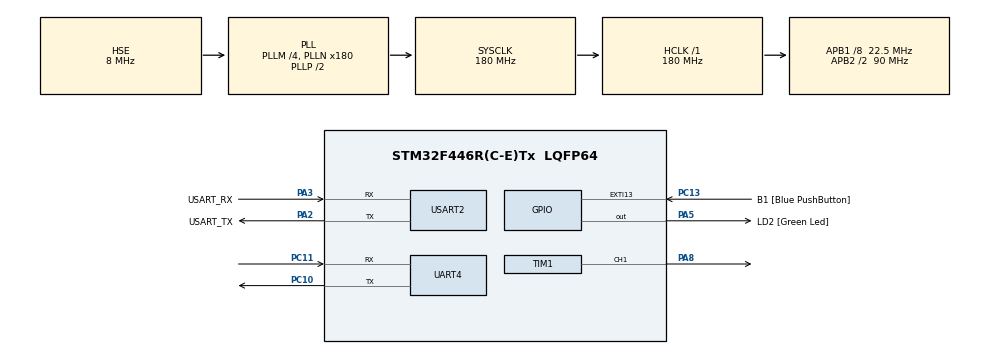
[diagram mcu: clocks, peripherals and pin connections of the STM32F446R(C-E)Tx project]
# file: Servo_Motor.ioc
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Dma.Request0=UART4_RX
Dma.UART4_RX.0.Direction=DMA_PERIPH_TO_MEMORY
Dma.UART4_RX.0.FIFOMode=DMA_FIFOMODE_DISABLE
Dma.UART4_RX.0.Instance=DMA1_Stream2
Dma.UART4_RX.0.MemDataAlignment=DMA_MDATAALIGN_BYTE
Dma.UART4_RX.0.MemInc=DMA_MINC_ENABLE
Dma.UART4_RX.0.Mode=DMA_CIRCULAR
Dma.UART4_RX.0.PeriphDataAlignment=DMA_PDATAALIGN_BYTE
Dma.UART4_RX.0.PeriphInc=DMA_PINC_DISABLE
Dma.UART4_RX.0.Priority=DMA_PRIORITY_LOW
Mcu.Family=STM32F4
Mcu.Name=STM32F446R(C-E)Tx
Mcu.Package=LQFP64
NVIC.DMA1_Stream2_IRQn=true\:0\:0\:false\:false\:true\:false\:true\:true
NVIC.PriorityGroup=NVIC_PRIORITYGROUP_0
PA13.GPIO_Label=TMS
PA13.Mode=Serial_Wire
PA13.Signal=SYS_JTMS-SWDIO
PA14.GPIO_Label=TCK
PA14.Mode=Serial_Wire
PA14.Signal=SYS_JTCK-SWCLK
PA2.GPIO_Label=USART_TX
PA2.Mode=Asynchronous
PA2.Signal=USART2_TX
PA3.GPIO_Label=USART_RX
PA3.Mode=Asynchronous
PA3.Signal=USART2_RX
PA5.GPIO_Label=LD2 [Green Led]
PA5.Signal=GPIO_Output
PA8.Signal=S_TIM1_CH1
PB3.GPIO_Label=SWO
PB3.Signal=SYS_JTDO-SWO
PC10.Mode=Asynchronous
PC10.Signal=UART4_TX
PC11.Mode=Asynchronous
PC11.Signal=UART4_RX
PC13.GPIO_Label=B1 [Blue PushButton]
PC13.GPIO_ModeDefaultEXTI=GPIO_MODE_IT_FALLING
PC13.Signal=GPXTI13
PC14-OSC32_IN.Mode=LSE-External-Oscillator
PC14-OSC32_IN.Signal=RCC_OSC32_IN
PC15-OSC32_OUT.Mode=LSE-External-Oscillator
PC15-OSC32_OUT.Signal=RCC_OSC32_OUT
PH0-OSC_IN.Mode=HSE-External-Oscillator
PH0-OSC_IN.Signal=RCC_OSC_IN
PH1-OSC_OUT.Mode=HSE-External-Oscillator
PH1-OSC_OUT.Signal=RCC_OSC_OUT
ProjectManager.HeapSize=0x200
ProjectManager.StackSize=0x400
ProjectManager.TargetToolchain=STM32CubeIDE
RCC.48MHZClocksFreq_Value=84000000
RCC.AHBFreq_Value=180000000
RCC.APB1CLKDivider=RCC_HCLK_DIV8
RCC.APB1Freq_Value=22500000
RCC.APB1TimFreq_Value=45000000
RCC.APB2CLKDivider=RCC_HCLK_DIV2
RCC.APB2Freq_Value=90000000
RCC.APB2TimFreq_Value=180000000
RCC.CortexFreq_Value=180000000
RCC.FLatency-AdvancedSettings=FLASH_LATENCY_5
RCC.HCLKFreq_Value=180000000
RCC.HSE_VALUE=8000000
RCC.HSI_VALUE=16000000
RCC.PLLM=4
RCC.PLLN=180
RCC.PLLSourceVirtual=RCC_PLLSOURCE_HSE
RCC.SYSCLKFreq_VALUE=180000000
RCC.SYSCLKSource=RCC_SYSCLKSOURCE_PLLCLK
RCC.USBFreq_Value=180000000
RCC.VCOOutputFreq_Value=360000000
SH.S_TIM1_CH1.0=TIM1_CH1,PWM Generation1 CH1
TIM1.Channel-PWM\ Generation1\ CH1=TIM_CHANNEL_1
TIM1.Period=999
TIM1.Prescaler=899
UART4.VirtualMode=Asynchronous
USART2.VirtualMode=VM_ASYNC
VP_TIM1_VS_ClockSourceINT.Mode=Internal
board=NUCLEO-F446RE

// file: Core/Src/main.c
/* USER CODE BEGIN Header */
/**
 ******************************************************************************
 * @file           : main.c
 * @brief          : Main program body
 ******************************************************************************
 * @attention
 *
 * Copyright (c) 2025 STMicroelectronics.
 * All rights reserved.
 *
 * This software is licensed under terms that can be found in the LICENSE file
 * in the root directory of this software component.
 * If no LICENSE file comes with this software, it is provided AS-IS.
 *
 ******************************************************************************
 */
/* USER CODE END Header */
#include "main.h"

TIM_HandleTypeDef htim1;

UART_HandleTypeDef huart4;
UART_HandleTypeDef huart2;
DMA_HandleTypeDef hdma_uart4_rx;

/* USER CODE BEGIN PV */
uint8_t rxbuff[16];
int32_t lx, ly, rx, ry, cro, squ, tri, cir, up, down, left, right, ll1, rr1,
		ll2, rr2, rL, rR;
/* USER CODE END PV */

void SystemClock_Config(void);
static void MX_GPIO_Init(void);
static void MX_DMA_Init(void);
static void MX_USART2_UART_Init(void);
static void MX_TIM1_Init(void);
static void MX_UART4_Init(void);

/* USER CODE BEGIN 0 */
void HAL_UART_RxCpltCallback(UART_HandleTypeDef *huart) {
	HAL_UART_Receive_DMA(&huart4, rxbuff, 16);
}
//void Set_Servo_Angle(TIM_HandleTypeDef *htim, uint32_t channel, uint8_t angle){
//	uint32_t pulse_length = 100 + (angle * (500 - 100)/180);
//	__HAL_TIM_SET_COMPARE(htim, channel, pulse_length);
//}
void Set_Servo_Angle(TIM_HandleTypeDef *htim, uint32_t channel, uint8_t angle){
	uint32_t pulse_length = angle * 250/360;
	__HAL_TIM_SET_COMPARE(htim, channel, pulse_length);
}
/* USER CODE END 0 */

int main(void)
{

  /* MCU Configuration--------------------------------------------------------*/

  /* Reset of all peripherals, Initializes the Flash interface and the Systick. */
  HAL_Init();

  /* Configure the system clock */
  SystemClock_Config();

  /* Initialize all configured peripherals */
  MX_GPIO_Init();
  MX_DMA_Init();
  MX_USART2_UART_Init();
  MX_TIM1_Init();
  MX_UART4_Init();
  /* USER CODE BEGIN 2 */
	HAL_UART_Receive_DMA(&huart4, rxbuff, 16);
	HAL_TIM_PWM_Start(&htim1, TIM_CHANNEL_1);
  /* USER CODE END 2 */

  /* Infinite loop */
	while (1) {

    /* USER CODE BEGIN 3 */
		/* ps5 controller */
		lx = (rxbuff[0] & 0x80) ?
				(int32_t) rxbuff[0] - 256 : (int32_t) rxbuff[0];
		ly = (rxbuff[1] & 0x80) ?
				(int32_t) rxbuff[1] - 256 : (int32_t) rxbuff[1];
		rx = (rxbuff[2] & 0x80) ?
				(int32_t) rxbuff[2] - 256 : (int32_t) rxbuff[2];
		ry = (rxbuff[3] & 0x80) ?
				(int32_t) rxbuff[3] - 256 : (int32_t) rxbuff[3];
		cro = (rxbuff[4] & 0x80) ?
				(int32_t) rxbuff[4] - 256 : (int32_t) rxbuff[4];
		squ = (rxbuff[5] & 0x80) ?
				(int32_t) rxbuff[5] - 256 : (int32_t) rxbuff[5];
		tri = (rxbuff[6] & 0x80) ?
				(int32_t) rxbuff[6] - 256 : (int32_t) rxbuff[6];
		cir = (rxbuff[7] & 0x80) ?
				(int32_t) rxbuff[7] - 256 : (int32_t) rxbuff[7];
		up = (rxbuff[8] & 0x80) ?
				(int32_t) rxbuff[8] - 256 : (int32_t) rxbuff[8];
		down = (rxbuff[9] & 0x80) ?
				(int32_t) rxbuff[9] - 256 : (int32_t) rxbuff[9];
		left = (rxbuff[10] & 0x80) ?
				(int32_t) rxbuff[10] - 256 : (int32_t) rxbuff[10];
		right = (rxbuff[11] & 0x80) ?
				(int32_t) rxbuff[11] - 256 : (int32_t) rxbuff[11];
		ll1 = (rxbuff[12] & 0x80) ?
				(int32_t) rxbuff[12] - 256 : (int32_t) rxbuff[12];
		ll2 = (rxbuff[13] & 0x80) ?
				(int32_t) rxbuff[13] - 256 : (int32_t) rxbuff[13];
		rr1 = (rxbuff[14] & 0x80) ?
				(int32_t) rxbuff[14] - 256 : (int32_t) rxbuff[14];
		rr2 = (rxbuff[15] & 0x80) ?
				(int32_t) rxbuff[15] - 256 : (int32_t) rxbuff[15];

		printf("Received Integers: %ld %ld %ld %ld %ld %ld %ld %ld %d %d\r\n",
						lx, ly, rx, ry, cro, squ, tri, cir, left, right);

//		if (left == 1)
//
//		{
//
//			htim1.Instance->CCR1 = 50; // duty cycle is 1 ms (0 degrees)
//
//		}
//
//		else if (right == 1) {
//
//			htim1.Instance->CCR1 = 125; // duty cycle is 2 ms (180 degrees)
//
//		}
		    __HAL_TIM_SET_COMPARE(&htim1, TIM_CHANNEL_1, 125);
			HAL_Delay(500);
			__HAL_TIM_SET_COMPARE(&htim1, TIM_CHANNEL_1, 50); // duty cycle is 2 ms (180 degrees)
			HAL_Delay(500);
//			Set_Servo_Angle(&htim1, TIM_CHANNEL_1, 90); // duty cycle is 2 ms (180 degrees)
		if (left == 1)

		{

		}

		else if (right == 1) {

		}
	}
  /* USER CODE END 3 */
}

void SystemClock_Config(void)
{
  RCC_OscInitTypeDef RCC_OscInitStruct = {0};
  RCC_ClkInitTypeDef RCC_ClkInitStruct = {0};

  /** Configure the main internal regulator output voltage
  */
  __HAL_RCC_PWR_CLK_ENABLE();
  __HAL_PWR_VOLTAGESCALING_CONFIG(PWR_REGULATOR_VOLTAGE_SCALE1);

  /** Initializes the RCC Oscillators according to the specified parameters
  * in the RCC_OscInitTypeDef structure.
  */
  RCC_OscInitStruct.OscillatorType = RCC_OSCILLATORTYPE_HSE;
  RCC_OscInitStruct.HSEState = RCC_HSE_ON;
  RCC_OscInitStruct.PLL.PLLState = RCC_PLL_ON;
  RCC_OscInitStruct.PLL.PLLSource = RCC_PLLSOURCE_HSE;
  RCC_OscInitStruct.PLL.PLLM = 4;
  RCC_OscInitStruct.PLL.PLLN = 180;
  RCC_OscInitStruct.PLL.PLLP = RCC_PLLP_DIV2;
  RCC_OscInitStruct.PLL.PLLQ = 2;
  RCC_OscInitStruct.PLL.PLLR = 2;
  if (HAL_RCC_OscConfig(&RCC_OscInitStruct) != HAL_OK)
  {
    Error_Handler();
  }

  /** Activate the Over-Drive mode
  */
  if (HAL_PWREx_EnableOverDrive() != HAL_OK)
  {
    Error_Handler();
  }

  /** Initializes the CPU, AHB and APB buses clocks
  */
  RCC_ClkInitStruct.ClockType = RCC_CLOCKTYPE_HCLK|RCC_CLOCKTYPE_SYSCLK
                              |RCC_CLOCKTYPE_PCLK1|RCC_CLOCKTYPE_PCLK2;
  RCC_ClkInitStruct.SYSCLKSource = RCC_SYSCLKSOURCE_PLLCLK;
  RCC_ClkInitStruct.AHBCLKDivider = RCC_SYSCLK_DIV1;
  RCC_ClkInitStruct.APB1CLKDivider = RCC_HCLK_DIV8;
  RCC_ClkInitStruct.APB2CLKDivider = RCC_HCLK_DIV2;

  if (HAL_RCC_ClockConfig(&RCC_ClkInitStruct, FLASH_LATENCY_5) != HAL_OK)
  {
    Error_Handler();
  }
}

static void MX_TIM1_Init(void)
{

  TIM_ClockConfigTypeDef sClockSourceConfig = {0};
  TIM_MasterConfigTypeDef sMasterConfig = {0};
  TIM_OC_InitTypeDef sConfigOC = {0};
  TIM_BreakDeadTimeConfigTypeDef sBreakDeadTimeConfig = {0};

  htim1.Instance = TIM1;
  htim1.Init.Prescaler = 899;
  htim1.Init.CounterMode = TIM_COUNTERMODE_UP;
  htim1.Init.Period = 999;
  htim1.Init.ClockDivision = TIM_CLOCKDIVISION_DIV1;
  htim1.Init.RepetitionCounter = 0;
  htim1.Init.AutoReloadPreload = TIM_AUTORELOAD_PRELOAD_DISABLE;
  if (HAL_TIM_Base_Init(&htim1) != HAL_OK)
  {
    Error_Handler();
  }
  sClockSourceConfig.ClockSource = TIM_CLOCKSOURCE_INTERNAL;
  if (HAL_TIM_ConfigClockSource(&htim1, &sClockSourceConfig) != HAL_OK)
  {
    Error_Handler();
  }
  if (HAL_TIM_PWM_Init(&htim1) != HAL_OK)
  {
    Error_Handler();
  }
  sMasterConfig.MasterOutputTrigger = TIM_TRGO_RESET;
  sMasterConfig.MasterSlaveMode = TIM_MASTERSLAVEMODE_DISABLE;
  if (HAL_TIMEx_MasterConfigSynchronization(&htim1, &sMasterConfig) != HAL_OK)
  {
    Error_Handler();
  }
  sConfigOC.OCMode = TIM_OCMODE_PWM1;
  sConfigOC.Pulse = 0;
  sConfigOC.OCPolarity = TIM_OCPOLARITY_HIGH;
  sConfigOC.OCNPolarity = TIM_OCNPOLARITY_HIGH;
  sConfigOC.OCFastMode = TIM_OCFAST_DISABLE;
  sConfigOC.OCIdleState = TIM_OCIDLESTATE_RESET;
  sConfigOC.OCNIdleState = TIM_OCNIDLESTATE_RESET;
  if (HAL_TIM_PWM_ConfigChannel(&htim1, &sConfigOC, TIM_CHANNEL_1) != HAL_OK)
  {
    Error_Handler();
  }
  sBreakDeadTimeConfig.OffStateRunMode = TIM_OSSR_DISABLE;
  sBreakDeadTimeConfig.OffStateIDLEMode = TIM_OSSI_DISABLE;
  sBreakDeadTimeConfig.LockLevel = TIM_LOCKLEVEL_OFF;
  sBreakDeadTimeConfig.DeadTime = 0;
  sBreakDeadTimeConfig.BreakState = TIM_BREAK_DISABLE;
  sBreakDeadTimeConfig.BreakPolarity = TIM_BREAKPOLARITY_HIGH;
  sBreakDeadTimeConfig.AutomaticOutput = TIM_AUTOMATICOUTPUT_DISABLE;
  if (HAL_TIMEx_ConfigBreakDeadTime(&htim1, &sBreakDeadTimeConfig) != HAL_OK)
  {
    Error_Handler();
  }
  HAL_TIM_MspPostInit(&htim1);

}

static void MX_UART4_Init(void)
{

  huart4.Instance = UART4;
  huart4.Init.BaudRate = 115200;
  huart4.Init.WordLength = UART_WORDLENGTH_8B;
  huart4.Init.StopBits = UART_STOPBITS_1;
  huart4.Init.Parity = UART_PARITY_NONE;
  huart4.Init.Mode = UART_MODE_TX_RX;
  huart4.Init.HwFlowCtl = UART_HWCONTROL_NONE;
  huart4.Init.OverSampling = UART_OVERSAMPLING_16;
  if (HAL_UART_Init(&huart4) != HAL_OK)
  {
    Error_Handler();
  }

}

static void MX_USART2_UART_Init(void)
{

  huart2.Instance = USART2;
  huart2.Init.BaudRate = 115200;
  huart2.Init.WordLength = UART_WORDLENGTH_8B;
  huart2.Init.StopBits = UART_STOPBITS_1;
  huart2.Init.Parity = UART_PARITY_NONE;
  huart2.Init.Mode = UART_MODE_TX_RX;
  huart2.Init.HwFlowCtl = UART_HWCONTROL_NONE;
  huart2.Init.OverSampling = UART_OVERSAMPLING_16;
  if (HAL_UART_Init(&huart2) != HAL_OK)
  {
    Error_Handler();
  }

}

static void MX_DMA_Init(void)
{

  /* DMA controller clock enable */
  __HAL_RCC_DMA1_CLK_ENABLE();

  /* DMA interrupt init */
  /* DMA1_Stream2_IRQn interrupt configuration */
  HAL_NVIC_SetPriority(DMA1_Stream2_IRQn, 0, 0);
  HAL_NVIC_EnableIRQ(DMA1_Stream2_IRQn);

}

static void MX_GPIO_Init(void)
{
  GPIO_InitTypeDef GPIO_InitStruct = {0};

  /* GPIO Ports Clock Enable */
  __HAL_RCC_GPIOC_CLK_ENABLE();
  __HAL_RCC_GPIOH_CLK_ENABLE();
  __HAL_RCC_GPIOA_CLK_ENABLE();
  __HAL_RCC_GPIOB_CLK_ENABLE();

  /*Configure GPIO pin Output Level */
  HAL_GPIO_WritePin(LD2_GPIO_Port, LD2_Pin, GPIO_PIN_RESET);

  /*Configure GPIO pin : B1_Pin */
  GPIO_InitStruct.Pin = B1_Pin;
  GPIO_InitStruct.Mode = GPIO_MODE_IT_FALLING;
  GPIO_InitStruct.Pull = GPIO_NOPULL;
  HAL_GPIO_Init(B1_GPIO_Port, &GPIO_InitStruct);

  /*Configure GPIO pin : LD2_Pin */
  GPIO_InitStruct.Pin = LD2_Pin;
  GPIO_InitStruct.Mode = GPIO_MODE_OUTPUT_PP;
  GPIO_InitStruct.Pull = GPIO_NOPULL;
  GPIO_InitStruct.Speed = GPIO_SPEED_FREQ_LOW;
  HAL_GPIO_Init(LD2_GPIO_Port, &GPIO_InitStruct);

}

/* USER CODE BEGIN 4 */
int _write(int file, char *ptr, int len) {
	HAL_UART_Transmit(&huart2, (uint8_t*) ptr, len, HAL_MAX_DELAY);
	return len;
}
/* USER CODE END 4 */

void Error_Handler(void)
{
	__disable_irq();
	while (1) {
	}
}
